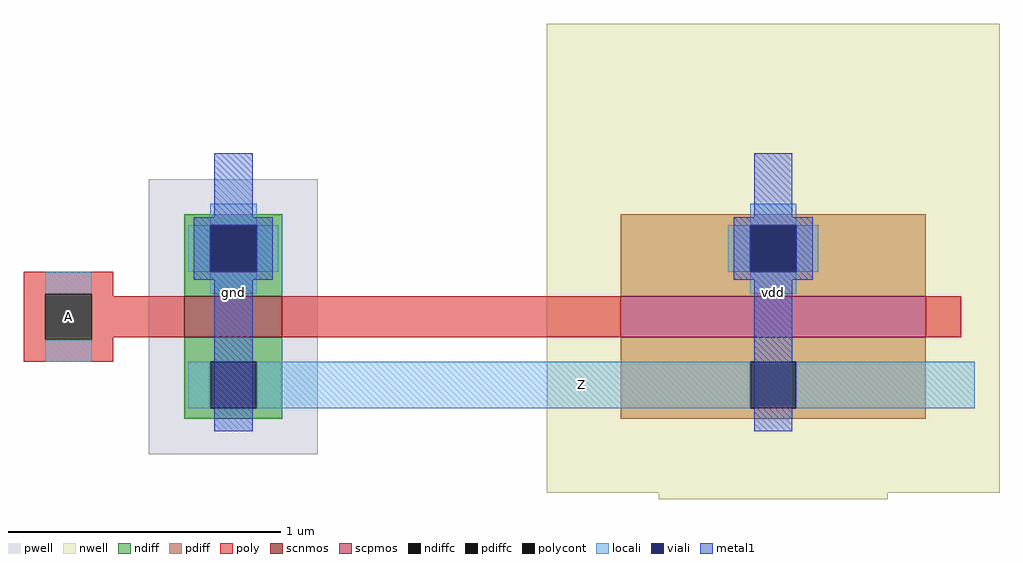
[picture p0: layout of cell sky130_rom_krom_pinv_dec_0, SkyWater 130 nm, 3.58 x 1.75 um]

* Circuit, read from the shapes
.subckt sky130_rom_krom_pinv_dec_0 A Z gnd vdd
XM1 gnd A Z VSUBS sky130_fd_pr__nfet_01v8 w=0.36 l=0.15
XM2 vdd A Z n1 sky130_fd_pr__pfet_01v8 w=1.12 l=0.15
.ends

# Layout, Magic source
magic
tech sky130A
magscale 1 2
<< nwell >>
rect 428 -45 760 299
rect 510 -50 678 -45
<< pwell >>
rect 136 -17 260 185
<< scnmos >>
rect 162 69 234 99
<< scpmos >>
rect 482 69 706 99
<< ndiff >>
rect 162 151 234 159
rect 162 117 181 151
rect 215 117 234 151
rect 162 99 234 117
rect 162 51 234 69
rect 162 17 181 51
rect 215 17 234 51
rect 162 9 234 17
<< pdiff >>
rect 482 151 706 159
rect 482 117 577 151
rect 611 117 706 151
rect 482 99 706 117
rect 482 51 706 69
rect 482 17 577 51
rect 611 17 706 51
rect 482 9 706 17
<< ndiffc >>
rect 181 117 215 151
rect 181 17 215 51
<< pdiffc >>
rect 577 117 611 151
rect 577 17 611 51
<< poly >>
rect 44 101 110 117
rect 44 67 60 101
rect 94 99 110 101
rect 94 69 162 99
rect 234 69 482 99
rect 706 69 732 99
rect 94 67 110 69
rect 44 51 110 67
<< polycont >>
rect 60 67 94 101
<< locali >>
rect 181 151 215 167
rect 577 151 611 167
rect 165 117 181 151
rect 215 117 231 151
rect 561 117 577 151
rect 611 117 627 151
rect 60 101 94 117
rect 181 101 215 117
rect 577 101 611 117
rect 60 51 94 67
rect 165 17 181 51
rect 215 17 577 51
rect 611 17 742 51
<< viali >>
rect 181 117 215 151
rect 577 117 611 151
<< metal1 >>
rect 184 157 212 204
rect 580 157 608 204
rect 169 151 227 157
rect 169 117 181 151
rect 215 117 227 151
rect 169 111 227 117
rect 565 151 623 157
rect 565 117 577 151
rect 611 117 623 151
rect 565 111 623 117
rect 184 0 212 111
rect 580 0 608 111
<< labels >>
rlabel locali s 77 84 77 84 4 A
port 2 nsew
rlabel locali s 453 34 453 34 4 Z
port 3 nsew
rlabel metal1 s 184 0 212 204 4 gnd
port 5 nsew
rlabel metal1 s 580 0 608 204 4 vdd
port 7 nsew
<< properties >>
string FIXED_BBOX 510 -50 678 -45
<< end >>
